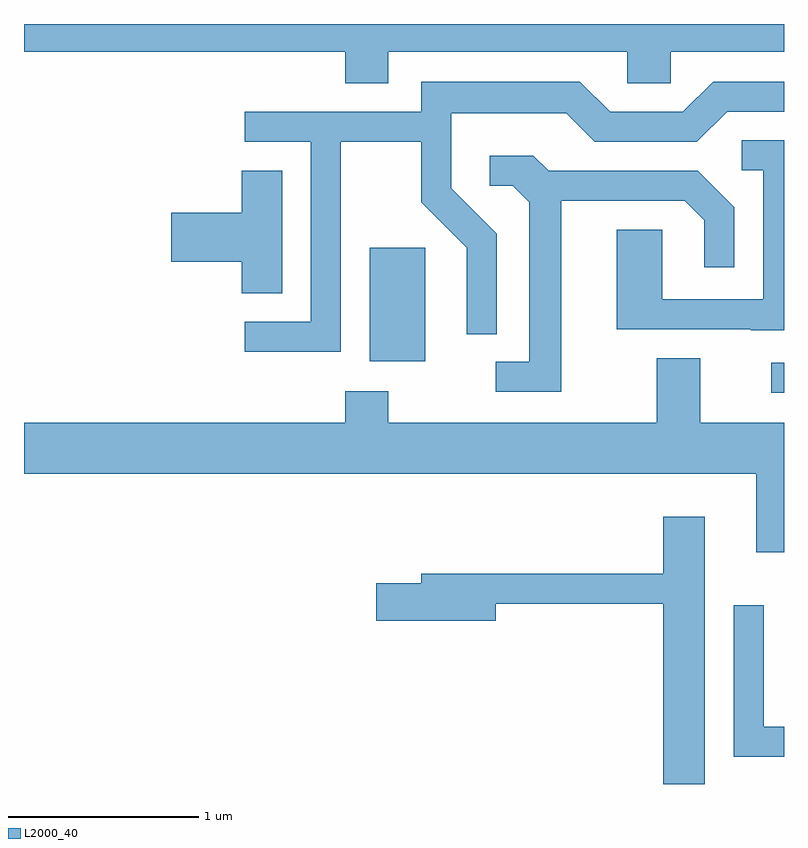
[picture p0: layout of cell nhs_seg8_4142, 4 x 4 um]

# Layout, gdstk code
import gdstk
lib = gdstk.Library(unit=1e-6, precision=1e-09)
def R(c, l, rs):  # rectangles x0, y0, x1, y1
    for r in rs: c.add(gdstk.rectangle(r[:2], r[2:], *l))
def P(c, l, *ps):  # polygons
    for p in ps: c.add(gdstk.Polygon(p, *l))
L2000_40 = (2000, 40)

nhs_seg8_4142 = lib.new_cell('nhs_seg8_4142')
R(nhs_seg8_4142, L2000_40, [(313.543,1832.401,313.611,1832.559), (311.431,1832.566,311.724,1833.164)])
P(nhs_seg8_4142, L2000_40, [(311.529,1834.196),(312.786,1834.196),(312.786,1834.031),(313.014,1834.031),(313.014,1834.196),(313.611,1834.196),(313.611,1834.342),(309.611,1834.342),(309.611,1834.196),(311.301,1834.196),(311.301,1834.031),(311.529,1834.031)],
  [(311.279,1833.721),(311.701,1833.721),(311.701,1833.404),(311.941,1833.164),(311.941,1832.708),(312.099,1832.708),(312.099,1833.237),(311.859,1833.477),(311.859,1833.871),(312.464,1833.871),(312.614,1833.721),(313.152,1833.721),(313.312,1833.881),(313.611,1833.881),(313.611,1834.039),(313.239,1834.039),(313.079,1833.879),(312.697,1833.879),(312.537,1834.039),(311.701,1834.039),(311.701,1833.879),(310.773,1833.879),(310.773,1833.721),(311.121,1833.721),(311.121,1832.774),(310.773,1832.774),(310.773,1832.616),(311.279,1832.616)],
  [(313.611,1833.729),(313.388,1833.729),(313.388,1833.571),(313.501,1833.571),(313.501,1832.894),(312.969,1832.894),(312.969,1833.259),(312.731,1833.259),(312.731,1832.736),(313.435,1832.736),(313.435,1832.731),(313.611,1832.731)],
  [(312.439,1833.411),(313.089,1833.411),(313.191,1833.309),(313.191,1833.063),(313.349,1833.063),(313.349,1833.377),(313.157,1833.569),(312.372,1833.569),(312.292,1833.649),(312.063,1833.649),(312.063,1833.491),(312.184,1833.491),(312.271,1833.404),(312.271,1832.564),(312.093,1832.564),(312.093,1832.406),(312.439,1832.406)],
  [(310.969,1833.569),(310.756,1833.569),(310.756,1833.349),(310.386,1833.349),(310.386,1833.091),(310.756,1833.091),(310.756,1832.926),(310.969,1832.926)],
  [(313.611,1832.244),(313.169,1832.244),(313.169,1832.584),(312.941,1832.584),(312.941,1832.244),(311.529,1832.244),(311.529,1832.409),(311.301,1832.409),(311.301,1832.244),(309.611,1832.244),(309.611,1831.976),(313.466,1831.976),(313.466,1831.561),(313.611,1831.561)],
  [(313.194,1831.749),(312.976,1831.749),(312.976,1831.449),(311.701,1831.449),(311.701,1831.399),(311.466,1831.399),(311.466,1831.201),(312.094,1831.201),(312.094,1831.291),(312.976,1831.291),(312.976,1830.342),(313.194,1830.342)],
  [(313.611,1830.644),(313.504,1830.644),(313.504,1831.283),(313.346,1831.283),(313.346,1830.486),(313.611,1830.486)])

lib.write_gds('nhs_seg8_4142.gds')
